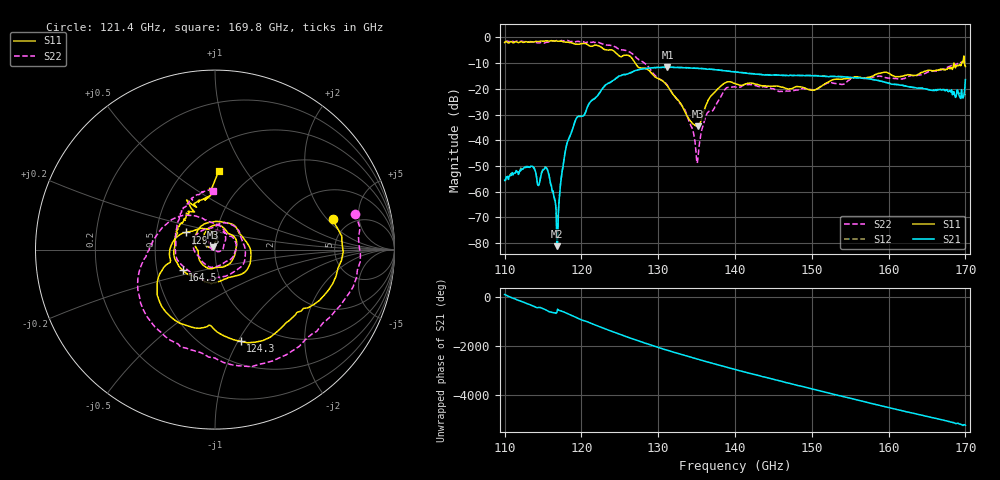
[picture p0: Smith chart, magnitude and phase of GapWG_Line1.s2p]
!Keysight Technologies,N5245B,MY49151002,A.19.00.09
!Date: Tuesday, March 11, 2025 12:10:04
!Correction: S11(C  2-Port  )
!S21(C  2-Port  )
!S12(C  2-Port  )
!S22(C  2-Port  )
!S2P File: Measurements: S11, S21, S12, S22:
# Hz S  dB  R 50
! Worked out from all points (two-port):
!   601 points, 110 GHz to 170 GHz, reference 50 ohm
!   highest |S21| = -11.56 dB at 131.2 GHz (marker M1); lowest = -81.2 dB at 116.8 GHz (marker M2)
!   |S21| within 3 dB of the highest: 125.4 GHz to 143.6 GHz (18.23 GHz wide, 13.6 % of centre); 143.6414 GHz to 143.8159 GHz (174.5 MHz wide, 0.121 % of centre)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
!   lowest |S11| = -34.6 dB at 135.2 GHz (marker M3), VSWR 1.04, Z = 48.8 + j1.44 ohm
!   |S11| at or under -10 dB: 127 GHz to 168.5 GHz (41.48 GHz wide, 28.1 % of centre); 168.5 GHz to 169.5 GHz (1.024 GHz wide, 0.606 % of centre); 169.8851 GHz to end of sweep
!   |S22| runs from -48.9 to -1.2 dB; largest |S21 - S12| = 0.092
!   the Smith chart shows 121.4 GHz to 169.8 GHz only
!   S11 on the Smith chart (normalised r, x): 121.4 GHz: 3.69, +2.34; 124.3 GHz: 0.72, -1.03; 129.3 GHz: 0.71, +0.14; 164.5 GHz: 0.68, -0.16; 169.8 GHz: 0.70, +0.76
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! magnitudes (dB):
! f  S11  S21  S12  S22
! 110 GHz  -1.9  -55.6  -55.6  -1.7
! 113.4 GHz  -1.7  -50.1  -50.0  -1.6
! 114.5 GHz  -1.5  -57.2  -56.8  -2.1
! 115.4 GHz  -1.3  -50.7  -50.5  -1.9
! 116.8 GHz  -1.3  -81.2  -72.3  -1.2
! 117.1 GHz  -1.5  -63.4  -63.1  -1.3
! 118.1 GHz  -1.8  -41.5  -41.5  -1.2
! 120 GHz  -2.4  -30.7  -30.6  -1.6
! 121.4 GHz  -3.3  -24.4  -24.3  -1.9
! 124.3 GHz  -5.5  -16.5  -16.3  -3.5
! 129.3 GHz  -14.4  -11.8  -11.8  -13.8
! 130 GHz  -16.0  -11.7  -11.6  -15.8
! 131.2 GHz  -18.9  -11.6  -11.6  -18.6
! 133.5 GHz  -29.0  -11.7  -11.7  -28.3
! 135.2 GHz  -34.6  -12.0  -11.9  -45.9
! 136.4 GHz  -25.2  -12.4  -12.2  -29.3
! 140 GHz  -17.9  -13.4  -13.3  -19.2
! 150 GHz  -20.5  -14.9  -14.8  -20.3
! 160 GHz  -13.9  -17.8  -17.8  -15.8
! 164.5 GHz  -13.4  -19.8  -19.8  -14.3
! 169.8 GHz  -7.2  -22.6  -22.2  -9.7
! 170 GHz  -11.3  -16.4  -22.4  -9.3
